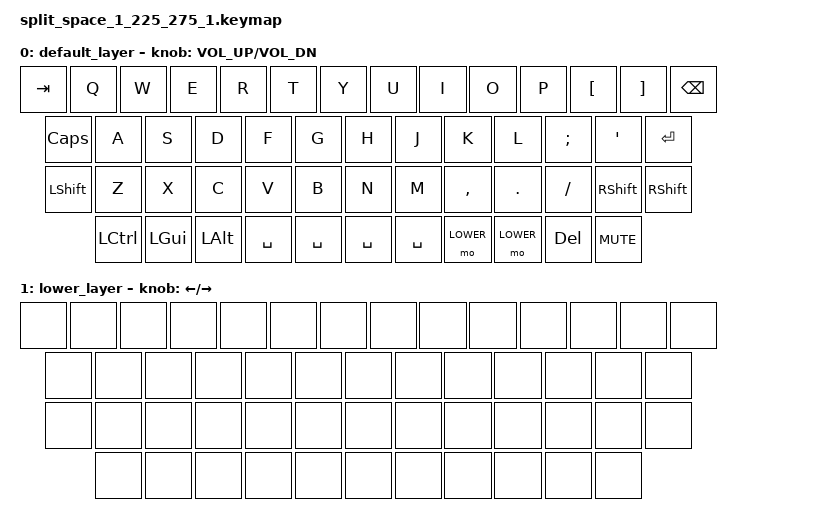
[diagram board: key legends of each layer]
/*
 * Copyright (c) 2022 The ZMK Contributors
 *
 * SPDX-License-Identifier: MIT
 */
 
#include <behaviors.dtsi>
#include <dt-bindings/zmk/keys.h>

#define DEFAULT 0
#define LOWER   1
#define RAISE   2

&lt { quick-tap-ms = <200>; };
&mt { quick-tap-ms = <200>; };

/ {
  chosen {
    zmk,matrix_transform = &split_space_1_225_275_1_transform;
  };
};

/ {
    keymap {
        compatible = "zmk,keymap";
        default_layer {
            bindings = <
                &kp TAB   &kp Q     &kp W     &kp E     &kp R     &kp T     &kp Y     &kp U     &kp I     &kp O     &kp P     &kp LBKT  &kp RBKT  &kp BSPC
                &kp CAPS    &kp A     &kp S     &kp D     &kp F     &kp G     &kp H     &kp J     &kp K     &kp L     &kp SCLN  &kp QUOT          &kp ENTER
                &kp LSHFT     &kp Z     &kp X     &kp C     &kp V     &kp B     &kp N     &kp M     &kp COMMA &kp DOT   &kp FSLH        &kp RSHFT &kp RSHFT
                &kp LCTRL &kp LGUI &kp LALT            &kp SPACE      &kp SPACE         &kp SPACE       &kp SPACE       &mo LOWER    &mo LOWER    &kp DEL      &kp C_MUTE
            >;
            sensor-bindings = <&inc_dec_kp C_VOL_UP C_VOL_DN>;
        };

        lower_layer {
            bindings = <
                &none  &none  &none  &none  &none  &none  &none  &none  &none  &none  &none  &none  &none  &none
                &none     &none  &none  &none  &none  &none  &none  &none  &none  &none  &none  &none      &none
                &none        &none  &none  &none  &none  &none  &none  &none  &none  &none  &none   &none  &none
                &none  &none  &none           &none     &none      &none       &none         &none  &none  &none  &none
            >;
            sensor-bindings = <&inc_dec_kp LEFT RIGHT>;
        };
    };
};

